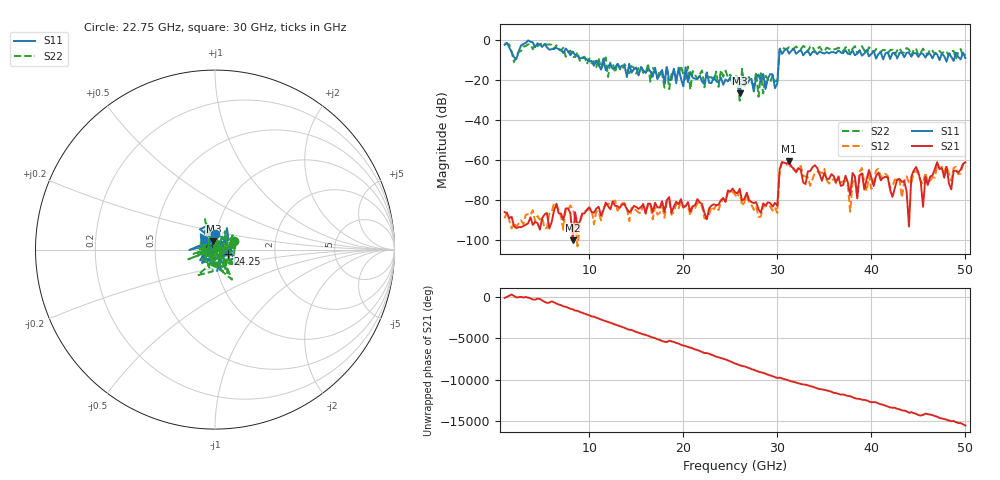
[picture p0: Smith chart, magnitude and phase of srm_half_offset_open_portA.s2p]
# GHz S RI R 50.0
!freq ReS11 ImS11 ReS21 ImS21 ReS12 ImS12 ReS22 ImS22
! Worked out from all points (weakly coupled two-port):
!   197 points, 1 GHz to 50 GHz, reference 50 ohm
!   highest |S21| = -60.50 dB at 31.25 GHz (marker M1); lowest = -100.2 dB at 8.25 GHz (marker M2)
!   lowest |S11| = -26.6 dB at 26 GHz (marker M3), VSWR 1.10, Z = 48.9 + j4.5 ohm
!   |S11| at or under -10 dB: 9.852 GHz to 11.46 GHz (1.608 GHz wide, 15.1 % of centre); 11.54 GHz to 30.17 GHz (18.63 GHz wide, 89.3 % of centre); 47.24935 GHz to 47.25056 GHz (1.203 MHz wide, 0.00255 % of centre) (the widest 3 of 5)
!   |S22| runs from -30.3 to -1.6 dB; largest |S21 - S12| = 0.0015
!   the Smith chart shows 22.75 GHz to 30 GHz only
!   S11 on the Smith chart (normalised r, x): 22.75 GHz: 0.98, +0.17; 24.25 GHz: 1.15, -0.06; 30 GHz: 0.88, +0.09
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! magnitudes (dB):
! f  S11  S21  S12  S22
! 1 GHz  -2.3  -86.1  -89.2  -1.6
! 8.25 GHz  -5.7  -100.2  -84.7  -8.4
! 9.25 GHz  -9.0  -86.8  -86.9  -8.7
! 17.5 GHz  -17.3  -83.7  -86.5  -15.1
! 22.75 GHz  -21.4  -84.2  -87.3  -18.7
! 24.25 GHz  -22.3  -79.0  -79.7  -18.3
! 25.5 GHz  -20.6  -76.1  -77.3  -18.1
! 26 GHz  -26.6  -74.4  -75.8  -30.3
! 26.25 GHz  -18.1  -80.4  -82.9  -14.3
! 28 GHz  -17.2  -84.7  -88.5  -28.3
! 28.25 GHz  -20.7  -86.4  -88.3  -16.5
! 30 GHz  -21.7  -82.9  -86.5  -20.2
! 30.25 GHz  -4.3  -64.5  -65.6  -4.5
! 31.25 GHz  -6.7  -60.5  -61.8  -3.6
! 33.75 GHz  -5.9  -63.6  -69.5  -3.1
! 42 GHz  -9.4  -75.0  -74.0  -4.9
! 44 GHz  -6.2  -93.3  -71.3  -4.6
! 44.75 GHz  -6.5  -63.5  -65.4  -4.1
! 45.5 GHz  -6.8  -83.4  -72.0  -4.2
! 47 GHz  -7.1  -61.1  -62.3  -5.3
! 48.5 GHz  -8.3  -74.7  -70.3  -5.4
! 50 GHz  -8.9  -61.1  -62.1  -7.0
